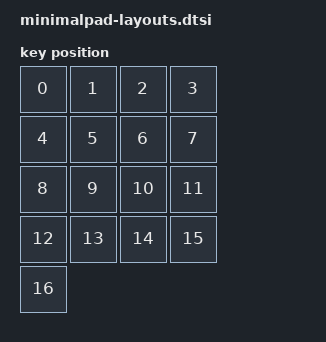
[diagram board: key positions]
#include <physical_layouts.dtsi>

/ {
    minimalpad_physical_layout: minimalpad_physical_layout {
        compatible = "zmk,physical-layout";
        display-name = "MinimalPad";
        transform = <&default_transform>;
        kscan = <&kscan0>;
        keys  //                     w   h    x    y     rot    rx    ry
            = <&key_physical_attrs 100 100    0    0       0     0     0>
            , <&key_physical_attrs 100 100  100    0       0     0     0>
            , <&key_physical_attrs 100 100  200    0       0     0     0>
            , <&key_physical_attrs 100 100  300    0       0     0     0>
            
            , <&key_physical_attrs 100 100    0  100       0     0     0>
            , <&key_physical_attrs 100 100  100  100       0     0     0>
            , <&key_physical_attrs 100 100  200  100       0     0     0>
            , <&key_physical_attrs 100 100  300  100       0     0     0>
            
            , <&key_physical_attrs 100 100    0  200       0     0     0>
            , <&key_physical_attrs 100 100  100  200       0     0     0>
            , <&key_physical_attrs 100 100  200  200       0     0     0>
            , <&key_physical_attrs 100 100  300  200       0     0     0>
            
            , <&key_physical_attrs 100 100    0  300       0     0     0>
            , <&key_physical_attrs 100 100  100  300       0     0     0>
            , <&key_physical_attrs 100 100  200  300       0     0     0>
            , <&key_physical_attrs 100 100  300  300       0     0     0>
            
            , <&key_physical_attrs 100 100    0  400       0     0     0> // Encoder button
            ;
    };
}; 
